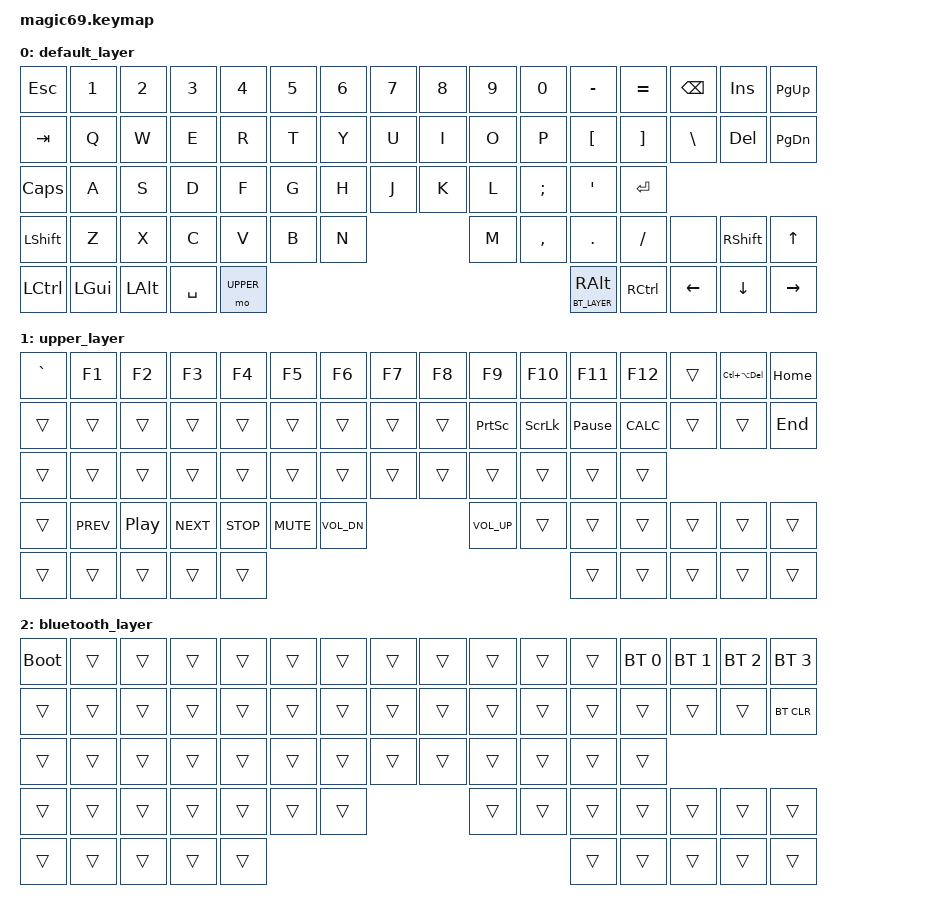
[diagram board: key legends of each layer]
#include <behaviors.dtsi>
#include <dt-bindings/zmk/keys.h>
#include <dt-bindings/zmk/bt.h>

#define DEFAULT 0
#define UPPER 1
#define BT_LAYER 2

/ {
    keymap {
        compatible = "zmk,keymap";

        default_layer {
            bindings = <
                &kp ESC    &kp N1   &kp N2   &kp N3  &kp N4  &kp N5  &kp N6  &kp N7  &kp N8    &kp N9    &kp N0    &kp MINUS  &kp EQUAL  &kp BSPC              &kp INS   &kp PG_UP
                &kp TAB    &kp Q    &kp W    &kp E   &kp R   &kp T   &kp Y   &kp U   &kp I     &kp O     &kp P     &kp LBKT   &kp RBKT   &kp BSLH              &kp DEL   &kp PG_DN
                &kp CLCK   &kp A    &kp S    &kp D   &kp F   &kp G   &kp H   &kp J   &kp K     &kp L     &kp SEMI  &kp APOS   &kp ENTER
                &kp LSHIFT &kp Z    &kp X    &kp C   &kp V   &kp B   &kp N   &kp M   &kp COMMA &kp DOT   &kp FSLH  &none      &kp RSHIFT                                  &kp UP
                &kp LCTRL  &kp LGUI &kp LALT                 &kp SPACE                          &mo UPPER &lt BT_LAYER RALT  &kp RCTRL          &kp LEFT  &kp DOWN  &kp RIGHT
            >;
        };

        upper_layer {
            bindings = <
                &kp GRAVE      &kp F1      &kp F2   &kp F3      &kp F4      &kp F5      &kp F6       &kp F7       &kp F8  &kp F9    &kp F10          &kp F11          &kp F12    &trans              &kp LC(LA(DEL))  &kp HOME
                &trans         &trans      &trans   &trans      &trans      &trans      &trans       &trans       &trans  &kp PSCRN &kp SLCK         &kp PAUSE_BREAK  &kp K_CALC &trans              &trans           &kp END
                &trans         &trans      &trans   &trans      &trans      &trans      &trans       &trans       &trans  &trans    &trans           &trans           &trans
                &trans         &kp C_PREV  &kp C_PP &kp C_NEXT  &kp C_STOP  &kp C_MUTE  &kp C_VOL_DN &kp C_VOL_UP &trans &trans    &trans           &trans           &trans                                            &trans
                &trans         &trans      &trans                            &trans                                       &trans    &trans           &trans                       &trans    &trans    &trans
            >;
        };

        bluetooth_layer {
            bindings = <
                &bootloader &trans  &trans  &trans  &trans  &trans  &trans  &trans  &trans  &trans  &trans  &trans  &bt BT_SEL 0  &bt BT_SEL 1  &bt BT_SEL 2  &bt BT_SEL 3
                &trans      &trans  &trans  &trans  &trans  &trans  &trans  &trans  &trans  &trans  &trans  &trans  &trans        &trans        &trans        &bt BT_CLR
                &trans      &trans  &trans  &trans  &trans  &trans  &trans  &trans  &trans  &trans  &trans  &trans  &trans
                &trans      &trans  &trans  &trans  &trans  &trans  &trans  &trans  &trans  &trans  &trans  &trans  &trans                                      &trans
                &trans      &trans  &trans                  &trans                          &trans  &trans  &trans              &trans    &trans    &trans
            >;
        };
    };
};
